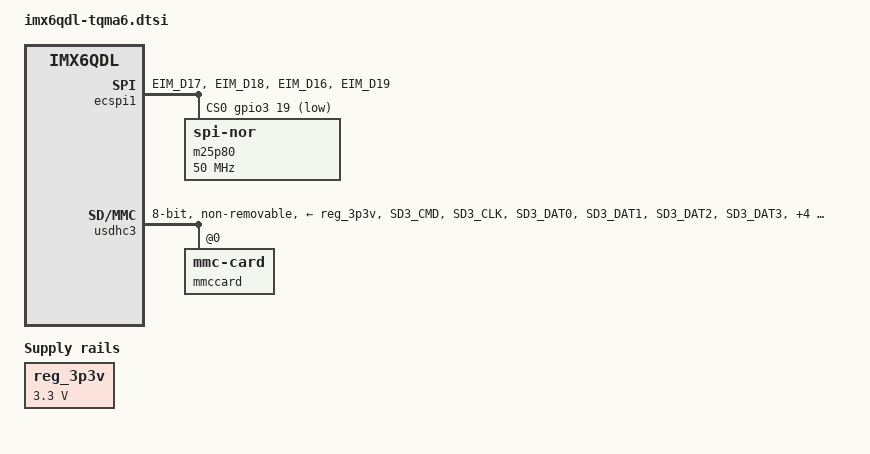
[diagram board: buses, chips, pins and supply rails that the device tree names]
// SPDX-License-Identifier: GPL-2.0-or-later
/*
 * Copyright 2013 Sascha Hauer, Pengutronix
 * Copyright 2013-2017 Markus Niebel <Markus.Niebel@tq-group.com>
 */

#include <dt-bindings/gpio/gpio.h>
#include <dt-bindings/interrupt-controller/irq.h>

/ {
	reg_3p3v: regulator-3p3v {
		compatible = "regulator-fixed";
		regulator-name = "supply-3p3v";
		regulator-min-microvolt = <3300000>;
		regulator-max-microvolt = <3300000>;
		regulator-always-on;
	};
};

&ecspi1 {
	pinctrl-names = "default";
	pinctrl-0 = <&pinctrl_ecspi1>;
	cs-gpios = <&gpio3 19 GPIO_ACTIVE_LOW>;
	status = "okay";

	m25p80: flash@0 {
		compatible = "jedec,spi-nor";
		spi-max-frequency = <50000000>;
		reg = <0>;
		#address-cells = <1>;
		#size-cells = <1>;
		m25p,fast-read;
	};
};

&iomuxc {
	pinctrl_ecspi1: ecspi1grp {
		fsl,pins = <
			/* HYS, SPEED = MED, 100k up, DSE = 011, SRE_FAST */
			MX6QDL_PAD_EIM_D17__ECSPI1_MISO 0x1b099
			MX6QDL_PAD_EIM_D18__ECSPI1_MOSI 0xb099
			MX6QDL_PAD_EIM_D16__ECSPI1_SCLK 0xb099
			 /* eCSPI1 SS1 */
			MX6QDL_PAD_EIM_D19__GPIO3_IO19 0xb099
		>;
	};

	pinctrl_i2c1: i2c1grp {
		fsl,pins = <
			MX6QDL_PAD_CSI0_DAT8__I2C1_SDA 0x4001b899
			MX6QDL_PAD_CSI0_DAT9__I2C1_SCL 0x4001b899
		>;
	};

	pinctrl_i2c1_recovery: i2c1recoverygrp {
		fsl,pins = <
			MX6QDL_PAD_CSI0_DAT8__GPIO5_IO26 0x4001b899
			MX6QDL_PAD_CSI0_DAT9__GPIO5_IO27 0x4001b899
		>;
	};

	pinctrl_i2c3: i2c3grp {
		fsl,pins = <
			MX6QDL_PAD_GPIO_5__I2C3_SCL 0x4001b899
			MX6QDL_PAD_GPIO_6__I2C3_SDA 0x4001b899
		>;
	};

	pinctrl_i2c3_recovery: i2c3recoverygrp {
		fsl,pins = <
			MX6QDL_PAD_GPIO_5__GPIO1_IO05 0x4001b899
			MX6QDL_PAD_GPIO_6__GPIO1_IO06 0x4001b899
		>;
	};

	pinctrl_pmic: pmicgrp {
		fsl,pins = <
			MX6QDL_PAD_NANDF_RB0__GPIO6_IO10 0x1b099 /* PMIC irq */
		>;
	};

	pinctrl_usdhc3: usdhc3grp {
		fsl,pins = <
			MX6QDL_PAD_SD3_CMD__SD3_CMD    0x17059
			MX6QDL_PAD_SD3_CLK__SD3_CLK    0x10059
			MX6QDL_PAD_SD3_DAT0__SD3_DATA0 0x17059
			MX6QDL_PAD_SD3_DAT1__SD3_DATA1 0x17059
			MX6QDL_PAD_SD3_DAT2__SD3_DATA2 0x17059
			MX6QDL_PAD_SD3_DAT3__SD3_DATA3 0x17059
			MX6QDL_PAD_SD3_DAT4__SD3_DATA4 0x17059
			MX6QDL_PAD_SD3_DAT5__SD3_DATA5 0x17059
			MX6QDL_PAD_SD3_DAT6__SD3_DATA6 0x17059
			MX6QDL_PAD_SD3_DAT7__SD3_DATA7 0x17059
		>;
	};
};

&pmic {
	pinctrl-names = "default";
	pinctrl-0 = <&pinctrl_pmic>;
	interrupt-parent = <&gpio6>;
	interrupts = <10 IRQ_TYPE_LEVEL_LOW>;

	regulators {
		reg_vddcore: sw1ab {
			regulator-min-microvolt = <300000>;
			regulator-max-microvolt = <1875000>;
			regulator-always-on;
		};

		reg_vddsoc: sw1c {
			regulator-min-microvolt = <300000>;
			regulator-max-microvolt = <1875000>;
			regulator-always-on;
		};

		reg_gen_3v3: sw2 {
			regulator-min-microvolt = <800000>;
			regulator-max-microvolt = <3300000>;
			regulator-always-on;
		};

		reg_ddr_1v5a: sw3a {
			regulator-min-microvolt = <400000>;
			regulator-max-microvolt = <1975000>;
			regulator-always-on;
		};

		reg_ddr_1v5b: sw3b {
			regulator-min-microvolt = <400000>;
			regulator-max-microvolt = <1975000>;
			regulator-always-on;
		};

		sw4_reg: sw4 {
			regulator-min-microvolt = <800000>;
			regulator-max-microvolt = <3300000>;
			regulator-always-on;
		};

		reg_5v_600mA: swbst {
			regulator-min-microvolt = <5000000>;
			regulator-max-microvolt = <5150000>;
			regulator-always-on;
		};

		reg_snvs_3v: vsnvs {
			regulator-min-microvolt = <1500000>;
			regulator-max-microvolt = <3000000>;
			regulator-always-on;
		};

		reg_vrefddr: vrefddr {
			regulator-boot-on;
			regulator-always-on;
		};

		reg_vgen1_1v5: vgen1 {
			regulator-min-microvolt = <800000>;
			regulator-max-microvolt = <1550000>;
			/* not used */
		};

		reg_vgen2_1v2_eth: vgen2 {
			regulator-min-microvolt = <800000>;
			regulator-max-microvolt = <1550000>;
			regulator-always-on;
		};

		reg_vgen3_2v8: vgen3 {
			regulator-min-microvolt = <1800000>;
			regulator-max-microvolt = <3300000>;
			regulator-always-on;
		};

		reg_vgen4_1v8: vgen4 {
			regulator-min-microvolt = <1800000>;
			regulator-max-microvolt = <3300000>;
			regulator-always-on;
		};

		reg_vgen5_1v8_eth: vgen5 {
			regulator-min-microvolt = <1800000>;
			regulator-max-microvolt = <3300000>;
			regulator-always-on;
		};

		reg_vgen6_3v3: vgen6 {
			regulator-min-microvolt = <1800000>;
			regulator-max-microvolt = <3300000>;
			regulator-always-on;
		};
	};
};

/* eMMC */
&usdhc3 {
	pinctrl-names = "default";
	pinctrl-0 = <&pinctrl_usdhc3>;
	vmmc-supply = <&reg_3p3v>;
	non-removable;
	disable-wp;
	no-sd;
	no-sdio;
	bus-width = <8>;
	#address-cells = <1>;
	#size-cells = <0>;
	status = "okay";

	mmccard: mmccard@0 {
		reg = <0>;
		compatible = "mmc-card";
		broken-hpi;
	};
};
